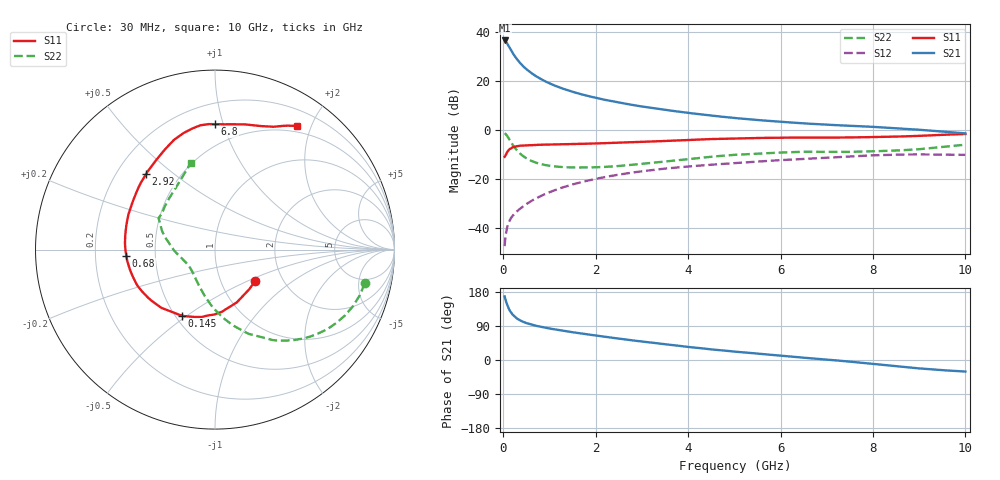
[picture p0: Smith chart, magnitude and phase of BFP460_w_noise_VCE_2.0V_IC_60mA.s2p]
! (c) 2016  Infineon Technologies AG, Munich
! Infineon Technologies  Discrete & RF Semiconductors
! BFP460
! VCE =  2.0 V,  IC =  60 mA
! Common Emitter S-Parameters:  Jan 2016
# GHz  S  MA  R  50
!  f  S11  S21  S12  S22
! GHz  MAG  ANG  MAG  ANG  MAG  ANG  MAG  ANG
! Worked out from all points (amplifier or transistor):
!   229 points, 30 MHz to 10 GHz, reference 50 ohm
!   highest |S21| = 36.5 dB at 30 MHz (marker M1)
!   |S21| within 3 dB of that: start of sweep to 138.8 MHz
!   unconditionally stable (mu >= 1): 914.7 MHz to 7.6 GHz
!   at 280 MHz: K = 0.70, MSG = 31.3 dB, |S12| = -33.4 dB
!   at 1.78 GHz: K = 1.05, MAG = 16.2 dB, |S12| = -20.8 dB
!   at 10 GHz: K = 0.97, MSG = 4.4 dB, |S12| = -10.1 dB
!   lowest NFmin = 1.86 dB at 3.5 GHz
!   S11 on the Smith chart (normalised r, x): 30 MHz: 1.45, -0.56; 145 MHz: 0.54, -0.48; 680 MHz: 0.34, -0.03; 2.92 GHz: 0.32, +0.40; 6.8 GHz: 0.34, +0.94; 10 GHz: 0.41, +1.79
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0.03  0.284 -38.5  66.51 167.8  0.0043 84.3  0.8553 -12.7
0.05  0.3013 -58.7  63.74 158.7  0.0068 78.4  0.8309 -22.3
0.07  0.3323 -77.1  60.6 151.0  0.0089 72.1  0.7903 -31.1
0.08  0.3484 -83.7  58.7 147.7  0.01 71.4  0.7674 -35.2
0.09  0.3622 -90.9  56.6 144.2  0.0109 69.2  0.7418 -39.0
0.11  0.382 -101.0  52.6 138.4  0.0124 66.1  0.6921 -45.9
0.145  0.4107 -116.6  45.93 129.9  0.0148 62.9  0.6093 -56.1
0.2  0.4412 -132.7  37.48 120.2  0.0177 60.6  0.5042 -68.4
0.26  0.459 -144.1  30.82 113.0  0.0204 60.3  0.4223 -78.0
0.3  0.468 -149.9  27.34 109.1  0.0221 60.5  0.3803 -83.6
0.36  0.4777 -156.3  23.39 104.8  0.0247 61.4  0.3336 -90.2
0.45  0.4842 -163.9  19.07 99.7  0.0287 62.6  0.2846 -98.5
0.68  0.4954 -176.1  12.97 91.2  0.0391 65.1  0.2206 -113.7
0.9  0.5028 175.9  9.869 85.4  0.0493 65.8  0.1935 -124.1
1.1  0.5072 170.0  8.118 81.0  0.0587 65.6  0.1816 -131.2
1.7  0.5225 155.7  5.3 69.8  0.087 62.6  0.1719 -145.9
2.92  0.5695 132.5  3.094 50.0  0.1407 52.1  0.201 -169.6
3.4  0.5914 124.8  2.649 43.1  0.1594 47.6  0.2226 -177.2
5.1  0.6752 104.2  1.721 21.2  0.2145 33.7  0.3147 160.1
6.8  0.6984 90.0  1.312 3.2  0.2658 20.8  0.359 149.7
8.4  0.7283 71.5  1.099 -15.2  0.3126 6.0  0.3785 134.0
10  0.8267 56.4  0.852 -30.5  0.3112 -6.7  0.5018 105.4
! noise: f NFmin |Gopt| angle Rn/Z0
0.45  2.02  0.36  -170  0.13
0.9  2.06  0.34  -160  0.14
1.9  2.16  0.44  -139  0.17
3.5  1.86  0.7  -115  0.32
